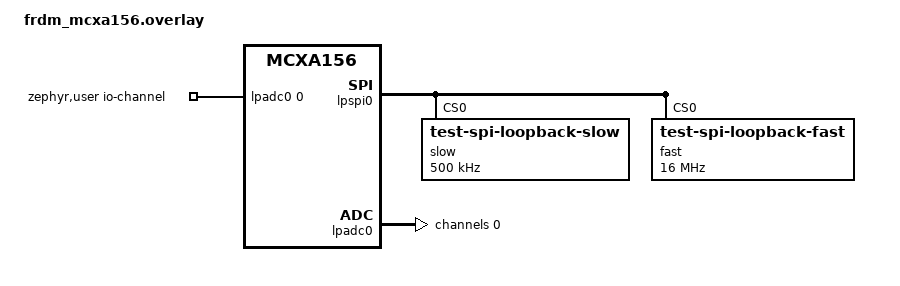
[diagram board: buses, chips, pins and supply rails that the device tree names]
/*
 * Copyright 2024 NXP
 *
 * SPDX-License-Identifier: Apache-2.0
 */

/* To test this sample, connect
 * LPSPI0 MOSI(J6-6, P1_0/LPSPI0_SDO)     -->        LPSPI0 MISO(J6-5, P1_2/LPSPI0_SDI)
 */
&lpspi0 {
	slow@0 {
		compatible = "test-spi-loopback-slow";
		reg = <0>;
		spi-max-frequency = <500000>;
	};

	fast@0 {
		compatible = "test-spi-loopback-fast";
		reg = <0>;
		spi-max-frequency = <16000000>;
	};
};

#include <zephyr/dt-bindings/adc/adc.h>

#include <zephyr/dt-bindings/adc/mcux-lpadc.h>

/ {
	zephyr,user {
		io-channels = <&lpadc0 0>;
	};
};

&lpadc0 {
	#address-cells = <1>;
	#size-cells = <0>;
	channel@0 {
		reg = <0>;
		zephyr,gain = "ADC_GAIN_1";
		zephyr,reference = "ADC_REF_EXTERNAL0";
		zephyr,vref-mv = <3300>;
		zephyr,acquisition-time = <ADC_ACQ_TIME_DEFAULT>;
		zephyr,resolution = <16>;
		zephyr,input-positive = <MCUX_LPADC_CH0A>;
	};
};
